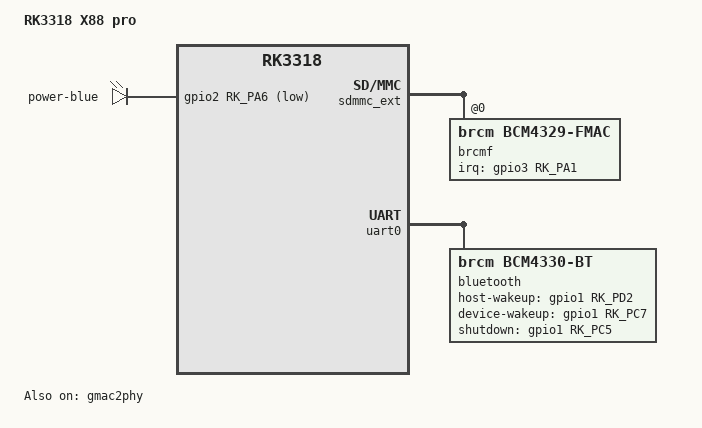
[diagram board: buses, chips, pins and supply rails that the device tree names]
// SPDX-License-Identifier: (GPL-2.0+ OR MIT)

/dts-v1/;
#include "rk3318-box.dtsi"

/ {
	model = "RK3318 X88 pro";

	leds {
		compatible = "gpio-leds";

		power-blue {
			gpios = <&gpio2 RK_PA6 GPIO_ACTIVE_LOW>;
			linux,default-trigger = "none";
			default-state = "on";
		};
	};

};

&emmc {
	mmc-hs200-1_8v;
};

&gmac2phy {
	status = "okay";
};

&io_domains {
	vccio6-supply = <&vccio_1v8>;
};

&sdmmc_ext {
	mmc-pwrseq = <&sdio_pwrseq>;
	status = "okay";
	#address-cells = <1>;
	#size-cells = <0>;

	brcmf: wifi@0 {
		compatible = "brcm,bcm4329-fmac";
		reg = <0>;
		interrupt-parent = <&gpio3>;
		interrupts = <RK_PA1 GPIO_ACTIVE_HIGH>;
		interrupt-names = "host-wake";
		pinctrl-names = "default";
		pinctrl-0 = <&wifi_host_wake_l>;
	};

};

&uart0 {
	status = "okay";

	bluetooth {
		compatible = "brcm,bcm4330-bt";
		host-wakeup-gpios = <&gpio1 RK_PD2 GPIO_ACTIVE_HIGH>;
		device-wakeup-gpios = <&gpio1 RK_PC7 GPIO_ACTIVE_HIGH>;
		shutdown-gpios = <&gpio1 RK_PC5 GPIO_ACTIVE_HIGH>;
		pinctrl-names = "default";
		pinctrl-0 = <&bt_reg_on_h &bt_host_wake_l &bt_wake_l>;
	};
};
